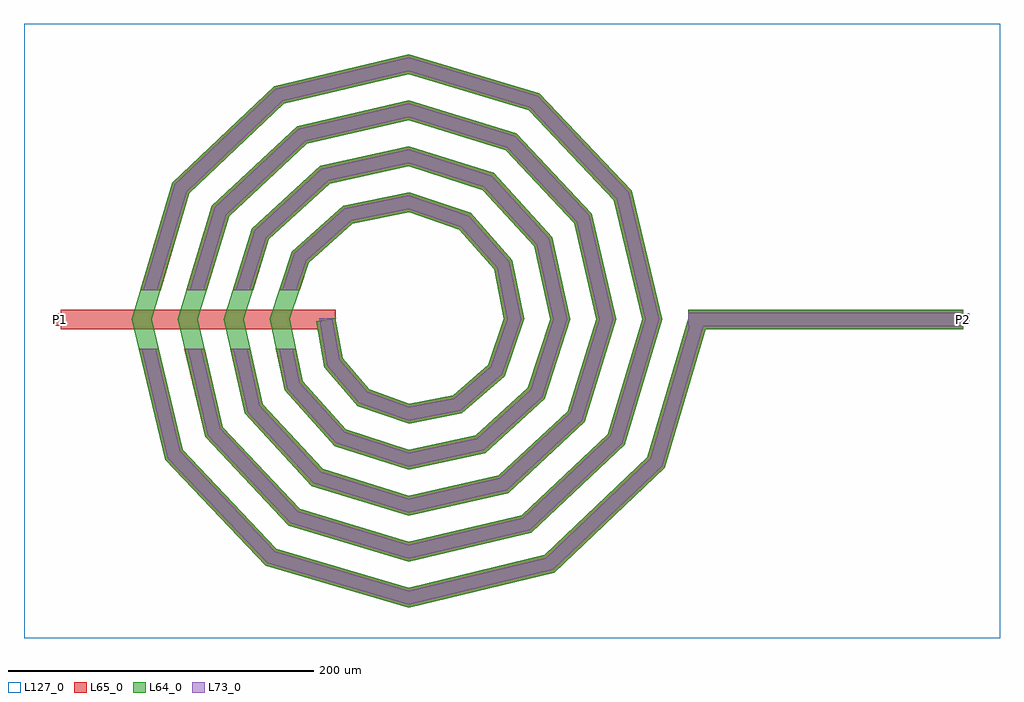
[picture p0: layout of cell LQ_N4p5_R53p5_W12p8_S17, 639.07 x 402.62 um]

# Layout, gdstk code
import gdstk
lib = gdstk.Library(unit=1e-6, precision=1e-09)
def R(c, l, rs):  # rectangles x0, y0, x1, y1
    for r in rs: c.add(gdstk.rectangle(r[:2], r[2:], *l))
def P(c, l, *ps):  # polygons
    for p in ps: c.add(gdstk.Polygon(p, *l))
L64_0 = (64, 0)
L65_0 = (65, 0)
L73_0 = (73, 0)
L127_0 = (127, 0)

lq_n4p5_r53p5_w12p8_s17 = lib.new_cell('LQ_N4p5_R53p5_W12p8_S17')
R(lq_n4p5_r53p5_w12p8_s17, L64_0, [(183.356,-6.4,363.356,6.4)])
P(lq_n4p5_r53p5_w12p8_s17, L64_0, [(-43.045,-25.484),(-25.811,-45.755),(0.503,-55.041),(29.194,-49.6),(52.248,-29.628),(62.573,0.448),(56.148,32.917),(33.436,58.748),(0.404,70.106),(-36.648,62.693),(-65.253,37.236),(-77.64,0.368),(-69.234,-40.385),(-41.03,-71.762),(0.338,-85.174),(44.128,-75.774),(78.273,-44.821),(92.709,0.312),(82.311,47.874),(48.608,84.787),(0.29,100.244),(-51.623,88.847),(-91.302,52.393),(-107.778,0.271),(-95.381,-55.375),(-56.176,-97.819),(0.255,-115.314),(59.129,-101.915),(104.337,-59.957),(122.849,0.24),(108.448,62.884),(63.736,110.856),(0.227,130.384),(-66.641,114.98),(-117.375,67.514),(-137.919,0.215),(-121.511,-70.398),(-71.292,-123.896),(0.204,-145.454),(74.157,-128.042),(130.417,-75.068),(152.99,0.195),(134.573,77.917),(78.843,136.938),(0.186,160.525),(-81.677,141.103),(-143.46,82.618),(-168.061,0.178),(-147.632,-85.438),(-86.392,-149.982),(0.17,-175.596),(89.199,-154.162),(156.504,-90.166),(183.617,1.81),(195.894,-1.81),(167.811,-97.077),(95.532,-165.803),(0.17,-188.844),(-93.316,-161.282),(-159.28,-91.758),(-181.308,0.178),(-154.752,89.554),(-87.984,152.758),(0.186,173.772),(85.793,148.222),(146.236,84.208),(166.236,0.195),(141.691,-82.033),(80.432,-139.715),(0.204,-158.701),(-78.274,-135.159),(-133.193,-76.656),(-151.165,0.215),(-128.628,74.516),(-72.878,126.673),(0.227,143.629),(70.758,122.095),(120.153,69.099),(136.093,0.24),(115.562,-67.002),(65.318,-113.634),(0.255,-128.557),(-63.247,-109.028),(-107.115,-61.536),(-121.021,0.271),(-102.493,59.494),(-57.752,100.598),(0.29,113.484),(55.744,95.956),(94.081,53.966),(105.948,0.312),(89.418,-51.995),(50.177,-87.567),(0.338,-98.411),(-48.25,-82.877),(-81.054,-46.384),(-90.874,0.368),(-76.334,44.509),(-42.586,74.543),(0.404,83.337),(40.774,69.787),(68.036,38.781),(75.799,0.448),(63.235,-37.046),(34.968,-61.533),(0.503,-68.26),(-33.327,-56.676),(-55.035,-31.143),(-60.414,-1.129),(-47.815,1.129)])
R(lq_n4p5_r53p5_w12p8_s17, L65_0, [(-227.715,-6.4,-47.715,6.4), (183.356,-6.4,363.356,6.4), (-231.715,-4,-223.715,4), (359.356,-4,367.356,4)])
P(lq_n4p5_r53p5_w12p8_s17, L65_0, [(-147.632,-85.438),(-86.393,-149.982),(0.17,-175.596),(89.2,-154.162),(156.504,-90.166),(183.617,1.81),(195.894,-1.81),(167.811,-97.077),(95.532,-165.803),(0.17,-188.844),(-93.316,-161.282),(-159.28,-91.758),(-176.665,-19.2),(-163.503,-19.2)],
  [(-121.511,-70.398),(-71.292,-123.896),(0.204,-145.454),(74.157,-128.042),(130.417,-75.068),(152.99,0.195),(134.573,77.917),(78.843,136.938),(0.186,160.525),(-81.677,141.103),(-143.46,82.618),(-162.303,19.2),(-175.656,19.2),(-154.752,89.554),(-87.984,152.758),(0.186,173.772),(85.794,148.222),(146.236,84.208),(166.236,0.195),(141.691,-82.033),(80.432,-139.715),(0.204,-158.701),(-78.274,-135.16),(-133.193,-76.656),(-146.626,-19.2),(-133.481,-19.2)],
  [(-95.381,-55.375),(-56.176,-97.819),(0.255,-115.314),(59.129,-101.915),(104.337,-59.957),(122.849,0.24),(108.448,62.884),(63.736,110.856),(0.227,130.384),(-66.641,114.98),(-117.376,67.514),(-132.03,19.2),(-145.406,19.2),(-128.628,74.516),(-72.878,126.673),(0.227,143.629),(70.758,122.095),(120.153,69.099),(136.093,0.24),(115.562,-67.002),(65.318,-113.634),(0.255,-128.557),(-63.247,-109.028),(-107.115,-61.536),(-116.64,-19.2),(-103.52,-19.2)],
  [(-69.234,-40.385),(-41.031,-71.762),(0.338,-85.174),(44.128,-75.774),(78.273,-44.821),(92.709,0.312),(82.311,47.874),(48.608,84.787),(0.29,100.244),(-51.623,88.847),(-91.303,52.393),(-101.687,19.2),(-115.099,19.2),(-102.493,59.494),(-57.752,100.598),(0.29,113.484),(55.744,95.956),(94.081,53.966),(105.948,0.312),(89.418,-51.995),(50.177,-87.567),(0.338,-98.411),(-48.25,-82.877),(-81.054,-46.384),(-86.764,-19.2),(-73.684,-19.2)],
  [(-25.811,-45.755),(0.503,-55.041),(29.194,-49.6),(52.248,-29.628),(62.573,0.448),(56.148,32.917),(33.436,58.748),(0.404,70.106),(-36.648,62.693),(-65.253,37.236),(-71.194,19.2),(-84.671,19.2),(-76.334,44.51),(-42.586,74.543),(0.404,83.337),(40.774,69.787),(68.036,38.781),(75.799,0.448),(63.235,-37.046),(34.968,-61.533),(0.503,-68.26),(-33.327,-56.676),(-55.035,-31.143),(-60.414,-1.129),(-47.815,1.129),(-43.045,-25.484)])
R(lq_n4p5_r53p5_w12p8_s17, L73_0, [(183.356,-4.4,363.356,4.4)])
P(lq_n4p5_r53p5_w12p8_s17, L73_0, [(-149.452,-86.426),(-87.474,-151.747),(0.117,-177.666),(90.189,-155.981),(158.271,-91.246),(185.535,1.244),(193.976,-1.244),(166.045,-95.998),(94.543,-163.984),(0.117,-186.774),(-92.234,-159.516),(-157.46,-90.771),(-174.609,-19.2),(-165.56,-19.2)],
  [(-123.337,-71.376),(-72.383,-125.656),(0.14,-147.524),(75.138,-129.866),(132.178,-76.156),(155.06,0.134),(136.395,78.9),(79.929,138.701),(0.128,162.595),(-82.662,142.924),(-145.224,83.702),(-164.389,19.2),(-173.57,19.2),(-152.987,88.471),(-86.998,150.937),(0.128,171.702),(84.708,146.458),(144.414,83.225),(164.167,0.134),(139.929,-80.945),(79.452,-137.891),(0.14,-156.631),(-77.183,-133.4),(-131.368,-75.678),(-144.572,-19.2),(-135.535,-19.2)],
  [(-97.215,-56.338),(-57.281,-99.571),(0.175,-117.383),(60.096,-103.746),(106.091,-61.058),(124.918,0.165),(110.277,63.855),(64.833,112.612),(0.156,132.453),(-67.615,116.807),(-119.134,68.608),(-134.12,19.2),(-143.316,19.2),(-126.87,73.422),(-71.903,124.846),(0.156,141.559),(69.661,120.339),(118.324,68.128),(134.023,0.165),(113.808,-65.901),(64.351,-111.803),(0.175,-126.487),(-62.143,-107.277),(-105.282,-60.574),(-114.59,-19.2),(-105.57,-19.2)],
  [(-71.081,-41.323),(-42.159,-73.499),(0.232,-87.243),(45.073,-77.616),(80.015,-45.942),(94.777,0.215),(84.15,48.826),(49.723,86.532),(0.2,102.312),(-52.581,90.683),(-93.051,53.503),(-103.783,19.2),(-113.003,19.2),(-100.744,58.385),(-56.795,98.762),(0.2,111.415),(54.629,94.211),(92.242,53.014),(103.879,0.215),(87.676,-50.874),(49.232,-85.724),(0.232,-96.343),(-47.122,-81.14),(-79.207,-45.446),(-84.72,-19.2),(-75.728,-19.2)],
  [(-26.986,-47.461),(0.346,-57.106),(30.096,-51.464),(53.965,-30.787),(64.64,0.308),(58.006,33.833),(34.582,60.473),(0.278,72.174),(-37.576,64.545),(-66.985,38.372),(-73.3,19.2),(-82.565,19.2),(-74.602,43.373),(-41.658,72.692),(0.278,81.27),(39.627,68.062),(66.179,37.865),(73.732,0.308),(61.518,-35.887),(34.066,-59.668),(0.346,-66.194),(-32.153,-54.97),(-53.162,-30.259),(-58.446,0.776),(-49.784,0.776),(-44.919,-26.368)])
R(lq_n4p5_r53p5_w12p8_s17, L127_0, [(-251.715,-208.844,387.356,193.772)])
lq_n4p5_r53p5_w12p8_s17.add(gdstk.Label('P2', (363.356,0), layer=65, texttype=0))
lq_n4p5_r53p5_w12p8_s17.add(gdstk.Label('P1', (-227.715,0), layer=65, texttype=0))
lq_n4p5_r53p5_w12p8_s17.add(gdstk.Label('P2', (367.356,0), layer=145, texttype=0))
lq_n4p5_r53p5_w12p8_s17.add(gdstk.Label('P1', (-231.715,0), layer=145, texttype=0))

lib.write_gds('LQ_N4p5_R53p5_W12p8_S17.gds')
